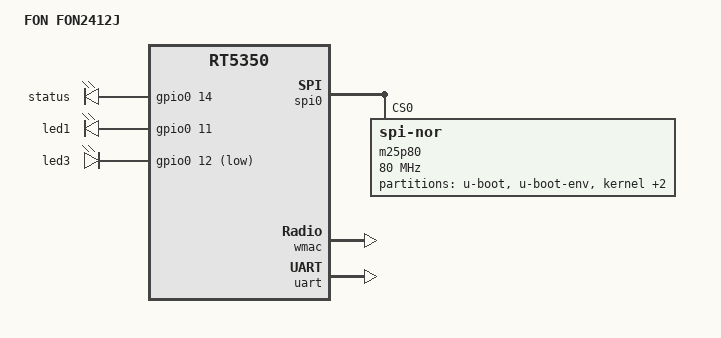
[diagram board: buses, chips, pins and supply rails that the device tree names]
/dts-v1/;

#include "rt5350.dtsi"

/ {
	compatible = "FON2412J", "ralink,rt5350-soc";
	model = "FON FON2412J";

	gpio-leds {
		compatible = "gpio-leds";

		status {
			label = "status";
			gpios = <&gpio0 14 0>;
		};

		led1 {
			label = "led1";
			gpios = <&gpio0 11 0>;
		};
/*
		led2 {
			label = "led2";
			gpios = <&gpio0 9 1>;
		};
*/

		led3 {
			label = "led3";
			gpios = <&gpio0 12 1>;
		};

	};
/*
	gpio-keys-polled {
		compatible = "gpio-keys-polled";
		#address-cells = <1>;
		#size-cells = <0>;
		poll-interval = <20>;

		reset {
			label = "reset";
			gpios = <&gpio0 10 1>;
			linux,code = <0x198>;
		};

	};
*/
};

&spi0 {
	status = "okay";

	m25p80@0 {
		#address-cells = <1>;
		#size-cells = <1>;
		compatible = "jedec,spi-nor";
		reg = <0>;
		linux,modalias = "m25p80", "mx25l3205d";
		spi-max-frequency = <80000000>;

		partition@0 {
			label = "u-boot";
			reg = <0x0 0x10000>;
			read-only;
		};

		partition@10000 {
			label = "u-boot-env";
			reg = <0x10000 0x10000>;
			read-only;
		};

		partition@20000 {
			label = "kernel";
			reg = <0x20000 0x100000>;
		};

		partition@110000 {
			label = "rootfs";
			reg = <0x120000 0x6e0000>;
		};

		partition@800000 {
			label = "upgrade";
			reg = <0x20000 0x7e0000>;
		};
	};
};

&pinctrl {
	state_default: pinctrl0 {
		uartf {
			ralink,group = "uartf";
			ralink,function = "gpio uartf";
		};
		jtag {
			ralink,group = "jtag";
			ralink,function = "gpio";
		};
	};
};

&ethernet {
//	mtd-mac-address = <&factory 0x28>;
};

&esw {
	mediatek,portmap = <0x2f>;
};

&wmac {
//	ralink,mtd-eeprom = <&factory 0>;
};

&gpio1 {
	status = "okay";
};

&uart {
	status = "okay";
};

